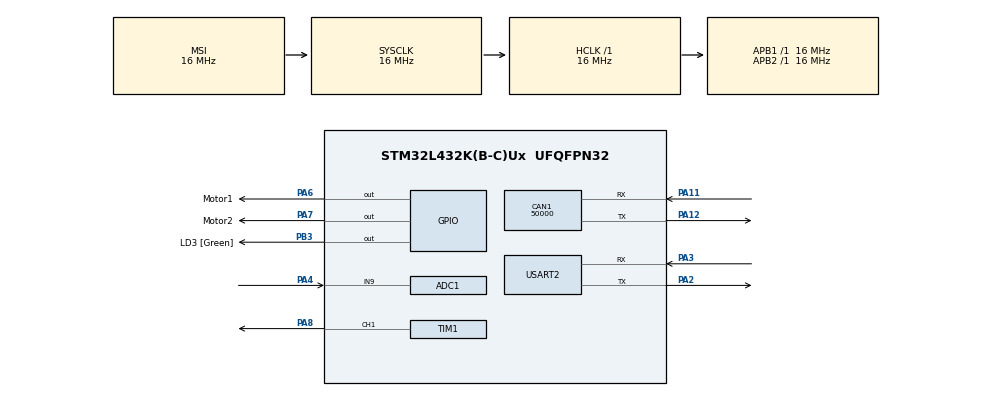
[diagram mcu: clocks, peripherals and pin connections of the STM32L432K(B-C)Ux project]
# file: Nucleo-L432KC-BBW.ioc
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ADC1.Channel-3\#ChannelRegularConversion=ADC_CHANNEL_9
ADC1.NbrOfConversionFlag=1
ADC1.OffsetNumber-3\#ChannelRegularConversion=ADC_OFFSET_NONE
ADC1.Rank-3\#ChannelRegularConversion=1
ADC1.SamplingTime-3\#ChannelRegularConversion=ADC_SAMPLETIME_2CYCLES_5
ADC1.master=1
CAN1.ABOM=ENABLE
CAN1.BS1=CAN_BS1_11TQ
CAN1.BS2=CAN_BS2_8TQ
CAN1.CalculateBaudRate=50000
CAN1.CalculateTimeBit=20000
CAN1.CalculateTimeQuantum=1000.0
Mcu.Family=STM32L4
Mcu.Name=STM32L432K(B-C)Ux
Mcu.Package=UFQFPN32
NVIC.ADC1_IRQn=true\:0\:0\:false\:false\:true\:true\:true\:true
NVIC.CAN1_RX0_IRQn=true\:0\:0\:false\:false\:true\:true\:true\:true
NVIC.CAN1_RX1_IRQn=true\:0\:0\:false\:false\:true\:true\:true\:true
NVIC.PriorityGroup=NVIC_PRIORITYGROUP_4
NVIC.TIM1_UP_TIM16_IRQn=true\:0\:0\:false\:false\:true\:true\:true\:true
NVIC.TIM6_DAC_IRQn=true\:0\:0\:false\:false\:true\:true\:true\:true
NVIC.TIM7_IRQn=true\:0\:0\:false\:false\:true\:true\:true\:true
PA0.GPIO_Label=MCO [High speed clock in]
PA0.Mode=HSE-External-Clock-Source-for-LittleOrca
PA0.Signal=RCC_CK_IN
PA11.Mode=CAN_Activate
PA11.Signal=CAN1_RX
PA12.Mode=CAN_Activate
PA12.Signal=CAN1_TX
PA13\ (JTMS-SWDIO).GPIO_Label=SWDIO
PA13\ (JTMS-SWDIO).Mode=Serial_Wire
PA13\ (JTMS-SWDIO).Signal=SYS_JTMS-SWDIO
PA14\ (JTCK-SWCLK).GPIO_Label=SWCLK
PA14\ (JTCK-SWCLK).Mode=Serial_Wire
PA14\ (JTCK-SWCLK).Signal=SYS_JTCK-SWCLK
PA2.Mode=Asynchronous
PA2.Signal=USART2_TX
PA3.Mode=Asynchronous
PA3.Signal=USART2_RX
PA4.Signal=ADCx_IN9
PA6.GPIO_Label=Motor1
PA6.Signal=GPIO_Output
PA7.GPIO_Label=Motor2
PA7.Signal=GPIO_Output
PA8.Signal=S_TIM1_CH1
PB3\ (JTDO-TRACESWO).GPIO_Label=LD3 [Green]
PB3\ (JTDO-TRACESWO).Signal=GPIO_Output
PC14-OSC32_IN\ (PC14).Mode=LSE-External-Oscillator
PC14-OSC32_IN\ (PC14).Signal=RCC_OSC32_IN
PC15-OSC32_OUT\ (PC15).Mode=LSE-External-Oscillator
PC15-OSC32_OUT\ (PC15).Signal=RCC_OSC32_OUT
ProjectManager.HeapSize=0x200
ProjectManager.StackSize=0x400
ProjectManager.TargetToolchain=STM32CubeIDE
RCC.ADCFreq_Value=64000000
RCC.AHBFreq_Value=16000000
RCC.APB1Freq_Value=16000000
RCC.APB1TimFreq_Value=16000000
RCC.APB2Freq_Value=16000000
RCC.APB2TimFreq_Value=16000000
RCC.CortexFreq_Value=16000000
RCC.HCLKFreq_Value=16000000
RCC.HSE_VALUE=8000000
RCC.HSI16_VALUE=16000000
RCC.HSI48_VALUE=48000000
RCC.HSI_VALUE=16000000
RCC.MSIClockRange=RCC_MSIRANGE_8
RCC.MSI_VALUE=16000000
RCC.PLLMUL=RCC_PLLMUL_4
RCC.SYSCLKFreq_VALUE=16000000
RCC.USBFreq_Value=64000000
RCC.VCOOutputFreq_Value=128000000
SH.ADCx_IN9.0=ADC1_IN9,IN9-Single-Ended
SH.S_TIM1_CH1.0=TIM1_CH1,PWM Generation1 CH1
TIM1.Channel-PWM\ Generation1\ CH1=TIM_CHANNEL_1
TIM1.Period=500
TIM1.Prescaler=160-1
TIM16.Period=20000
TIM16.Prescaler=160-1
TIM6.Period=10000
TIM6.Prescaler=16-1
TIM7.Period=25000
TIM7.Prescaler=64-1
USART2.VirtualMode-Asynchronous=VM_ASYNC
VP_TIM16_VS_ClockSourceINT.Mode=Enable_Timer
VP_TIM6_VS_ClockSourceINT.Mode=Enable_Timer
VP_TIM7_VS_ClockSourceINT.Mode=Enable_Timer
board=NUCLEO-L432KC

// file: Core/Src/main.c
/* USER CODE BEGIN Header */
/**
  ******************************************************************************
  * @file           : main.c
  * @brief          : Main program body
  ******************************************************************************
  * @attention
  *
  * Copyright (c) 2022 STMicroelectronics.
  * All rights reserved.
  *
  * This software is licensed under terms that can be found in the LICENSE file
  * in the root directory of this software component.
  * If no LICENSE file comes with this software, it is provided AS-IS.
  *
  ******************************************************************************
  */
/* USER CODE END Header */
#include "main.h"

/* USER CODE BEGIN Includes */

#include "stdio.h"

/* USER CODE END Includes */

ADC_HandleTypeDef hadc1;

CAN_HandleTypeDef hcan1;

TIM_HandleTypeDef htim1;
TIM_HandleTypeDef htim6;
TIM_HandleTypeDef htim7;
TIM_HandleTypeDef htim16;

UART_HandleTypeDef huart2;

void SystemClock_Config(void);
static void MX_GPIO_Init(void);
static void MX_USART2_UART_Init(void);
static void MX_CAN1_Init(void);
static void MX_TIM6_Init(void);
static void MX_TIM1_Init(void);
static void MX_ADC1_Init(void);
static void MX_TIM7_Init(void);
static void MX_TIM16_Init(void);

/* USER CODE BEGIN 0 */

CAN_TxHeaderTypeDef TxHeader;
CAN_RxHeaderTypeDef RxHeader;

uint32_t TxMailbox;

uint8_t CAN_TxData[4];
uint8_t CAN_RxData[4];

// important: don't convert to int or it will get reset to 0 for unknown reason
double first_met = 1.0;

double pressure_desired = 0.0;
double pressure_measured = 0.0;

double pressure_measured_avg = 0.0;
double pressure_measured_sum = 0.0;

// uart print to serial terminal for debugging purpose
int _write(int file, char *ptr, int len){
	HAL_UART_Transmit(&huart2, (uint8_t*)ptr, len, HAL_MAX_DELAY);
	return len;
}

void HAL_CAN_RxFifo0MsgPendingCallback(CAN_HandleTypeDef *hcan1)
{
  if (HAL_CAN_GetRxMessage(hcan1, CAN_RX_FIFO0, &RxHeader, CAN_RxData) != HAL_OK)
  {
    Error_Handler();
  }

  // 0x100 is the can device id of the main controller
  if ((RxHeader.StdId == 0x100))
  {
	  // first compute the brake percentage then the pressure needed
	  pressure_desired = CAN_RxData[1];
  }
}

void HAL_TIM_PeriodElapsedCallback(TIM_HandleTypeDef *htim) {
	// 100Hz = 10ms breaking linear actuator control loop
	if (htim == &htim6){
	  int brake_duty_cycle;
	  int max_duty_cycle = 400;

	  double pressure_error = pressure_measured_avg - pressure_desired;

	  // brake error very small
	  int error_met = pressure_error > -15.0 && pressure_error < 15.0;

	  // we want to first narrow down to a small range of error
	  // and then increase this bound to avoid oscillation
	  if (pressure_error > -7.5 && pressure_error < 7.5){
		  first_met = 1.0;
	  }

	  // if any conditions are met, lock the motor and cutoff power
	  if (error_met && first_met){
		  HAL_GPIO_WritePin(GPIOA, Motor1_Pin, GPIO_PIN_RESET);
		  HAL_GPIO_WritePin(GPIOA, Motor2_Pin, GPIO_PIN_RESET);
		  brake_duty_cycle = 0;
	  }
	  else{
		  first_met = 0.0;

		  // set the movement direction of the motor
		  if(pressure_error > 0.0){
			  HAL_GPIO_WritePin(GPIOA, Motor1_Pin, GPIO_PIN_RESET);
			  HAL_GPIO_WritePin(GPIOA, Motor2_Pin, GPIO_PIN_SET);
		  } else{
			  HAL_GPIO_WritePin(GPIOA, Motor1_Pin, GPIO_PIN_SET);
			  HAL_GPIO_WritePin(GPIOA, Motor2_Pin, GPIO_PIN_RESET);
		  }

		  // note that the backward force (loosing the brake) is much
		  // smaller than the forward force required (pushing the brake)
		  if(pressure_error > 0.0){
			  brake_duty_cycle = pressure_error * 10.0;
		  } else{
			  brake_duty_cycle = -pressure_error * 20.0;
		  }

		  if(brake_duty_cycle > max_duty_cycle){
			  brake_duty_cycle = max_duty_cycle;
		  }
	  }

	  // send out speed control pwm
	  TIM1->CCR1 = brake_duty_cycle;
	  HAL_TIM_PWM_Start(&htim1, TIM_CHANNEL_1);
  }

  // 100ms = 10Hz
  if (htim == &htim7){

  }

  // 5Hz = 200ms send out measured breaking pressure to can bus
  if (htim == &htim16){
	  CAN_TxData[0] = (int)(pressure_measured_avg);
	  HAL_CAN_AddTxMessage(&hcan1, &TxHeader, CAN_TxData, &TxMailbox);

	  printf("brake pressure measured: %.2f PSI \r\n", pressure_measured_avg);
	  printf("brake pressure desired: %.2f PSI \r\n", pressure_desired);
  }
}

/* USER CODE END 0 */

int main(void)
{

  /* MCU Configuration--------------------------------------------------------*/

  /* Reset of all peripherals, Initializes the Flash interface and the Systick. */
  HAL_Init();

  /* Configure the system clock */
  SystemClock_Config();

  /* Initialize all configured peripherals */
  MX_GPIO_Init();
  MX_USART2_UART_Init();
  MX_CAN1_Init();
  MX_TIM6_Init();
  MX_TIM1_Init();
  MX_ADC1_Init();
  MX_TIM7_Init();
  MX_TIM16_Init();
  /* USER CODE BEGIN 2 */

  // IMPORTANT: DO NOT MOVE THIS COUNTER TO GLOBAL VARIABLE
  // OR IT WILL BE RESET EVERY FEW LOOPS FOR NO REASON
  int count_max = 50;
  int pressure_count = 0;

  double pressure_voltage;
  double pressure_voltage_max = 5.0;
  double pressure_voltage_min = 1.0;

  double pressure_abs_max = 500.0;

  /* USER CODE END 2 */

  /* Infinite loop */
  /* USER CODE BEGIN WHILE */
  while (1)
  {
	  HAL_ADC_Start(&hadc1);
	  HAL_ADC_PollForConversion(&hadc1, HAL_MAX_DELAY);

	  // reference adc reading [0-4095], reference voltage [0-3.3v]
	  // however, empirical test show that 3.7v gives more accurate reading
	  pressure_voltage = HAL_ADC_GetValue(&hadc1) / 4095.0 * 3.7;
	  pressure_measured = (pressure_voltage - pressure_voltage_min) / (pressure_voltage_max - pressure_voltage_min) * pressure_abs_max;

	  // Throw out out of bound readings to reduce errors
	  if (pressure_measured > 0.0 && pressure_measured < pressure_abs_max){
		  pressure_measured_sum += pressure_measured;
		  pressure_count += 1;
	  }

	  if (pressure_count == count_max){
		  pressure_measured_avg = pressure_measured_sum / count_max;

		  if (pressure_measured_avg < 0){
			  pressure_measured_avg = 0;
		  }

		  pressure_count = 0;
		  pressure_measured_sum = 0.0;
	  }
  }
  /* USER CODE END WHILE */

}

void SystemClock_Config(void)
{
  RCC_OscInitTypeDef RCC_OscInitStruct = {0};
  RCC_ClkInitTypeDef RCC_ClkInitStruct = {0};

  /** Configure the main internal regulator output voltage
  */
  if (HAL_PWREx_ControlVoltageScaling(PWR_REGULATOR_VOLTAGE_SCALE1) != HAL_OK)
  {
    Error_Handler();
  }

  /** Configure LSE Drive Capability
  */
  HAL_PWR_EnableBkUpAccess();
  __HAL_RCC_LSEDRIVE_CONFIG(RCC_LSEDRIVE_LOW);

  /** Initializes the RCC Oscillators according to the specified parameters
  * in the RCC_OscInitTypeDef structure.
  */
  RCC_OscInitStruct.OscillatorType = RCC_OSCILLATORTYPE_LSE|RCC_OSCILLATORTYPE_MSI;
  RCC_OscInitStruct.LSEState = RCC_LSE_ON;
  RCC_OscInitStruct.MSIState = RCC_MSI_ON;
  RCC_OscInitStruct.MSICalibrationValue = 0;
  RCC_OscInitStruct.MSIClockRange = RCC_MSIRANGE_8;
  RCC_OscInitStruct.PLL.PLLState = RCC_PLL_NONE;
  if (HAL_RCC_OscConfig(&RCC_OscInitStruct) != HAL_OK)
  {
    Error_Handler();
  }

  /** Initializes the CPU, AHB and APB buses clocks
  */
  RCC_ClkInitStruct.ClockType = RCC_CLOCKTYPE_HCLK|RCC_CLOCKTYPE_SYSCLK
                              |RCC_CLOCKTYPE_PCLK1|RCC_CLOCKTYPE_PCLK2;
  RCC_ClkInitStruct.SYSCLKSource = RCC_SYSCLKSOURCE_MSI;
  RCC_ClkInitStruct.AHBCLKDivider = RCC_SYSCLK_DIV1;
  RCC_ClkInitStruct.APB1CLKDivider = RCC_HCLK_DIV1;
  RCC_ClkInitStruct.APB2CLKDivider = RCC_HCLK_DIV1;

  if (HAL_RCC_ClockConfig(&RCC_ClkInitStruct, FLASH_LATENCY_0) != HAL_OK)
  {
    Error_Handler();
  }

  /** Enable MSI Auto calibration
  */
  HAL_RCCEx_EnableMSIPLLMode();
}

static void MX_ADC1_Init(void)
{

  ADC_ChannelConfTypeDef sConfig = {0};

  /** Common config
  */
  hadc1.Instance = ADC1;
  hadc1.Init.ClockPrescaler = ADC_CLOCK_ASYNC_DIV1;
  hadc1.Init.Resolution = ADC_RESOLUTION_12B;
  hadc1.Init.DataAlign = ADC_DATAALIGN_RIGHT;
  hadc1.Init.ScanConvMode = ADC_SCAN_DISABLE;
  hadc1.Init.EOCSelection = ADC_EOC_SINGLE_CONV;
  hadc1.Init.LowPowerAutoWait = DISABLE;
  hadc1.Init.ContinuousConvMode = DISABLE;
  hadc1.Init.NbrOfConversion = 1;
  hadc1.Init.DiscontinuousConvMode = DISABLE;
  hadc1.Init.ExternalTrigConv = ADC_SOFTWARE_START;
  hadc1.Init.ExternalTrigConvEdge = ADC_EXTERNALTRIGCONVEDGE_NONE;
  hadc1.Init.DMAContinuousRequests = DISABLE;
  hadc1.Init.Overrun = ADC_OVR_DATA_PRESERVED;
  hadc1.Init.OversamplingMode = DISABLE;
  if (HAL_ADC_Init(&hadc1) != HAL_OK)
  {
    Error_Handler();
  }

  /** Configure Regular Channel
  */
  sConfig.Channel = ADC_CHANNEL_9;
  sConfig.Rank = ADC_REGULAR_RANK_1;
  sConfig.SamplingTime = ADC_SAMPLETIME_2CYCLES_5;
  sConfig.SingleDiff = ADC_SINGLE_ENDED;
  sConfig.OffsetNumber = ADC_OFFSET_NONE;
  sConfig.Offset = 0;
  if (HAL_ADC_ConfigChannel(&hadc1, &sConfig) != HAL_OK)
  {
    Error_Handler();
  }
  /* USER CODE BEGIN ADC1_Init 2 */
//  HAL_ADC_Start(&hadc1);
  /* USER CODE END ADC1_Init 2 */

}

static void MX_CAN1_Init(void)
{

  /* USER CODE BEGIN CAN1_Init 0 */
  TxHeader.DLC = 4;
  TxHeader.ExtId = 0;
  TxHeader.IDE = CAN_ID_STD;
  TxHeader.RTR = CAN_RTR_DATA;
  TxHeader.StdId = 0x102;
  TxHeader.TransmitGlobalTime = DISABLE;

  /* USER CODE END CAN1_Init 0 */

  hcan1.Instance = CAN1;
  hcan1.Init.Prescaler = 16;
  hcan1.Init.Mode = CAN_MODE_NORMAL;
  hcan1.Init.SyncJumpWidth = CAN_SJW_1TQ;
  hcan1.Init.TimeSeg1 = CAN_BS1_11TQ;
  hcan1.Init.TimeSeg2 = CAN_BS2_8TQ;
  hcan1.Init.TimeTriggeredMode = DISABLE;
  hcan1.Init.AutoBusOff = ENABLE;
  hcan1.Init.AutoWakeUp = DISABLE;
  hcan1.Init.AutoRetransmission = DISABLE;
  hcan1.Init.ReceiveFifoLocked = DISABLE;
  hcan1.Init.TransmitFifoPriority = DISABLE;
  if (HAL_CAN_Init(&hcan1) != HAL_OK)
  {
    Error_Handler();
  }
  /* USER CODE BEGIN CAN1_Init 2 */

  CAN_FilterTypeDef canfilterconfig;

  canfilterconfig.FilterActivation = CAN_FILTER_ENABLE;
  canfilterconfig.FilterBank = 10;  // which filter bank to use from the assigned ones
  canfilterconfig.FilterFIFOAssignment = CAN_FILTER_FIFO0;
  canfilterconfig.FilterIdHigh = 0;
  canfilterconfig.FilterIdLow = 0x0000;
  canfilterconfig.FilterMaskIdHigh = 0;
  canfilterconfig.FilterMaskIdLow = 0x0000;
  canfilterconfig.FilterMode = CAN_FILTERMODE_IDMASK;
  canfilterconfig.FilterScale = CAN_FILTERSCALE_32BIT;
  canfilterconfig.SlaveStartFilterBank = 20;  // how many filters to assign to the CAN1 (master can)

  HAL_CAN_ConfigFilter(&hcan1, &canfilterconfig);
  HAL_CAN_Start(&hcan1);
  HAL_CAN_ActivateNotification(&hcan1, CAN_IT_RX_FIFO0_MSG_PENDING);

  /* USER CODE END CAN1_Init 2 */

}

static void MX_TIM1_Init(void)
{

  TIM_MasterConfigTypeDef sMasterConfig = {0};
  TIM_OC_InitTypeDef sConfigOC = {0};
  TIM_BreakDeadTimeConfigTypeDef sBreakDeadTimeConfig = {0};

  htim1.Instance = TIM1;
  htim1.Init.Prescaler = 160-1;
  htim1.Init.CounterMode = TIM_COUNTERMODE_UP;
  htim1.Init.Period = 500;
  htim1.Init.ClockDivision = TIM_CLOCKDIVISION_DIV1;
  htim1.Init.RepetitionCounter = 0;
  htim1.Init.AutoReloadPreload = TIM_AUTORELOAD_PRELOAD_DISABLE;
  if (HAL_TIM_PWM_Init(&htim1) != HAL_OK)
  {
    Error_Handler();
  }
  sMasterConfig.MasterOutputTrigger = TIM_TRGO_RESET;
  sMasterConfig.MasterOutputTrigger2 = TIM_TRGO2_RESET;
  sMasterConfig.MasterSlaveMode = TIM_MASTERSLAVEMODE_DISABLE;
  if (HAL_TIMEx_MasterConfigSynchronization(&htim1, &sMasterConfig) != HAL_OK)
  {
    Error_Handler();
  }
  sConfigOC.OCMode = TIM_OCMODE_PWM1;
  sConfigOC.Pulse = 0;
  sConfigOC.OCPolarity = TIM_OCPOLARITY_HIGH;
  sConfigOC.OCNPolarity = TIM_OCNPOLARITY_HIGH;
  sConfigOC.OCFastMode = TIM_OCFAST_DISABLE;
  sConfigOC.OCIdleState = TIM_OCIDLESTATE_RESET;
  sConfigOC.OCNIdleState = TIM_OCNIDLESTATE_RESET;
  if (HAL_TIM_PWM_ConfigChannel(&htim1, &sConfigOC, TIM_CHANNEL_1) != HAL_OK)
  {
    Error_Handler();
  }
  sBreakDeadTimeConfig.OffStateRunMode = TIM_OSSR_DISABLE;
  sBreakDeadTimeConfig.OffStateIDLEMode = TIM_OSSI_DISABLE;
  sBreakDeadTimeConfig.LockLevel = TIM_LOCKLEVEL_OFF;
  sBreakDeadTimeConfig.DeadTime = 0;
  sBreakDeadTimeConfig.BreakState = TIM_BREAK_DISABLE;
  sBreakDeadTimeConfig.BreakPolarity = TIM_BREAKPOLARITY_HIGH;
  sBreakDeadTimeConfig.BreakFilter = 0;
  sBreakDeadTimeConfig.Break2State = TIM_BREAK2_DISABLE;
  sBreakDeadTimeConfig.Break2Polarity = TIM_BREAK2POLARITY_HIGH;
  sBreakDeadTimeConfig.Break2Filter = 0;
  sBreakDeadTimeConfig.AutomaticOutput = TIM_AUTOMATICOUTPUT_DISABLE;
  if (HAL_TIMEx_ConfigBreakDeadTime(&htim1, &sBreakDeadTimeConfig) != HAL_OK)
  {
    Error_Handler();
  }
  /* USER CODE BEGIN TIM1_Init 2 */
  HAL_TIM_PWM_Start(&htim1, TIM_CHANNEL_1);

  /* USER CODE END TIM1_Init 2 */
  HAL_TIM_MspPostInit(&htim1);

}

static void MX_TIM6_Init(void)
{

  TIM_MasterConfigTypeDef sMasterConfig = {0};

  htim6.Instance = TIM6;
  htim6.Init.Prescaler = 16-1;
  htim6.Init.CounterMode = TIM_COUNTERMODE_UP;
  htim6.Init.Period = 10000;
  htim6.Init.AutoReloadPreload = TIM_AUTORELOAD_PRELOAD_DISABLE;
  if (HAL_TIM_Base_Init(&htim6) != HAL_OK)
  {
    Error_Handler();
  }
  sMasterConfig.MasterOutputTrigger = TIM_TRGO_RESET;
  sMasterConfig.MasterSlaveMode = TIM_MASTERSLAVEMODE_DISABLE;
  if (HAL_TIMEx_MasterConfigSynchronization(&htim6, &sMasterConfig) != HAL_OK)
  {
    Error_Handler();
  }
  /* USER CODE BEGIN TIM6_Init 2 */
  HAL_TIM_Base_Start_IT(&htim6);
  /* USER CODE END TIM6_Init 2 */

}

static void MX_TIM7_Init(void)
{

  TIM_MasterConfigTypeDef sMasterConfig = {0};

  htim7.Instance = TIM7;
  htim7.Init.Prescaler = 64-1;
  htim7.Init.CounterMode = TIM_COUNTERMODE_UP;
  htim7.Init.Period = 25000;
  htim7.Init.AutoReloadPreload = TIM_AUTORELOAD_PRELOAD_DISABLE;
  if (HAL_TIM_Base_Init(&htim7) != HAL_OK)
  {
    Error_Handler();
  }
  sMasterConfig.MasterOutputTrigger = TIM_TRGO_RESET;
  sMasterConfig.MasterSlaveMode = TIM_MASTERSLAVEMODE_DISABLE;
  if (HAL_TIMEx_MasterConfigSynchronization(&htim7, &sMasterConfig) != HAL_OK)
  {
    Error_Handler();
  }
  /* USER CODE BEGIN TIM7_Init 2 */
  HAL_TIM_Base_Start_IT(&htim7);
  /* USER CODE END TIM7_Init 2 */

}

static void MX_TIM16_Init(void)
{

  htim16.Instance = TIM16;
  htim16.Init.Prescaler = 160-1;
  htim16.Init.CounterMode = TIM_COUNTERMODE_UP;
  htim16.Init.Period = 20000;
  htim16.Init.ClockDivision = TIM_CLOCKDIVISION_DIV1;
  htim16.Init.RepetitionCounter = 0;
  htim16.Init.AutoReloadPreload = TIM_AUTORELOAD_PRELOAD_DISABLE;
  if (HAL_TIM_Base_Init(&htim16) != HAL_OK)
  {
    Error_Handler();
  }
  /* USER CODE BEGIN TIM16_Init 2 */
  HAL_TIM_Base_Start_IT(&htim16);
  /* USER CODE END TIM16_Init 2 */

}

static void MX_USART2_UART_Init(void)
{

  huart2.Instance = USART2;
  huart2.Init.BaudRate = 115200;
  huart2.Init.WordLength = UART_WORDLENGTH_8B;
  huart2.Init.StopBits = UART_STOPBITS_1;
  huart2.Init.Parity = UART_PARITY_NONE;
  huart2.Init.Mode = UART_MODE_TX_RX;
  huart2.Init.HwFlowCtl = UART_HWCONTROL_NONE;
  huart2.Init.OverSampling = UART_OVERSAMPLING_16;
  huart2.Init.OneBitSampling = UART_ONE_BIT_SAMPLE_DISABLE;
  huart2.AdvancedInit.AdvFeatureInit = UART_ADVFEATURE_NO_INIT;
  if (HAL_UART_Init(&huart2) != HAL_OK)
  {
    Error_Handler();
  }

}

static void MX_GPIO_Init(void)
{
  GPIO_InitTypeDef GPIO_InitStruct = {0};

  /* GPIO Ports Clock Enable */
  __HAL_RCC_GPIOC_CLK_ENABLE();
  __HAL_RCC_GPIOA_CLK_ENABLE();
  __HAL_RCC_GPIOB_CLK_ENABLE();

  /*Configure GPIO pin Output Level */
  HAL_GPIO_WritePin(GPIOA, Motor1_Pin|Motor2_Pin, GPIO_PIN_RESET);

  /*Configure GPIO pin Output Level */
  HAL_GPIO_WritePin(LD3_GPIO_Port, LD3_Pin, GPIO_PIN_RESET);

  /*Configure GPIO pins : Motor1_Pin Motor2_Pin */
  GPIO_InitStruct.Pin = Motor1_Pin|Motor2_Pin;
  GPIO_InitStruct.Mode = GPIO_MODE_OUTPUT_PP;
  GPIO_InitStruct.Pull = GPIO_NOPULL;
  GPIO_InitStruct.Speed = GPIO_SPEED_FREQ_LOW;
  HAL_GPIO_Init(GPIOA, &GPIO_InitStruct);

  /*Configure GPIO pin : LD3_Pin */
  GPIO_InitStruct.Pin = LD3_Pin;
  GPIO_InitStruct.Mode = GPIO_MODE_OUTPUT_PP;
  GPIO_InitStruct.Pull = GPIO_NOPULL;
  GPIO_InitStruct.Speed = GPIO_SPEED_FREQ_LOW;
  HAL_GPIO_Init(LD3_GPIO_Port, &GPIO_InitStruct);

}

void Error_Handler(void)
{
  __disable_irq();
  while (1)
  {
  }
}
